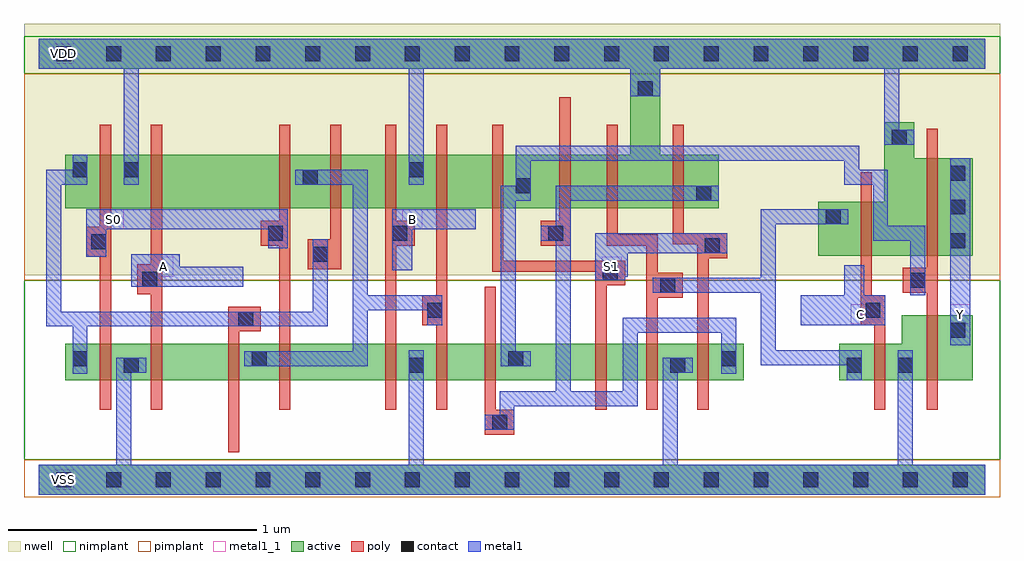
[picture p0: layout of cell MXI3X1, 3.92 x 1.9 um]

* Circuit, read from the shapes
.subckt MXI3X1 A B C S0 S1 VDD VSS Y
M1 VSS S0 n1 VSS nfet w=0.145u l=0.045u
M2 n2 A VSS VSS nfet w=0.145u l=0.045u
M3 n3 n1 n2 VSS nfet w=0.145u l=0.045u
M4 n4 S0 n3 VSS nfet w=0.145u l=0.045u
M5 VSS B n4 VSS nfet w=0.145u l=0.045u
M6 n5 n3 VSS VSS nfet w=0.145u l=0.045u
M7 n6 n7 n5 VSS nfet w=0.145u l=0.045u
M8 n8 S1 n6 VSS nfet w=0.145u l=0.045u
M9 VSS n9 n8 VSS nfet w=0.145u l=0.045u
M10 n7 S1 VSS VSS nfet w=0.145u l=0.045u
M11 VSS C n9 VSS nfet w=0.145u l=0.045u
M12 Y n6 VSS VSS nfet w=0.26u l=0.045u
M13 VDD S0 n1 VDD pfet w=0.215u l=0.045u
M14 n10 A VDD VDD pfet w=0.215u l=0.045u
M15 n3 S0 n10 VDD pfet w=0.215u l=0.045u
M16 n11 n1 n3 VDD pfet w=0.215u l=0.045u
M17 VDD B n11 VDD pfet w=0.215u l=0.045u
M18 n12 n3 VDD VDD pfet w=0.215u l=0.045u
M19 n6 S1 n12 VDD pfet w=0.215u l=0.045u
M20 n13 n7 n6 VDD pfet w=0.215u l=0.045u
M21 VDD n9 n13 VDD pfet w=0.215u l=0.045u
M22 n7 S1 VDD VDD pfet w=0.215u l=0.045u
M23 VDD C n9 VDD pfet w=0.215u l=0.045u
M24 Y n6 VDD VDD pfet w=0.39u l=0.045u
.ends

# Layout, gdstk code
import gdstk
lib = gdstk.Library(unit=1e-6, precision=5e-10)
def R(c, l, rs):  # rectangles x0, y0, x1, y1
    for r in rs: c.add(gdstk.rectangle(r[:2], r[2:], *l))
def A(c, l, x, y, w, h, nx, ny, dx, dy):  # array of equal rectangles
    R(c, l, [(x+i*dx, y+j*dy, x+i*dx+w, y+j*dy+h) for i in range(nx) for j in range(ny)])
def P(c, l, *ps):  # polygons
    for p in ps: c.add(gdstk.Polygon(p, *l))
active = (1, 0)
nwell = (2, 0)
poly = (3, 0)
nimplant = (4, 0)
pimplant = (5, 0)
contact = (6, 0)
metal1 = (7, 0)
metal1_1 = (7, 1)

mxi3x1 = lib.new_cell('MXI3X1')
R(mxi3x1, active, [(0,-0.06,3.8,0.06), (0.105,0.4,2.83,0.545)])
P(mxi3x1, active, [(0,1.77),(3.8,1.77),(3.8,1.65),(2.495,1.65),(2.495,1.305),(2.73,1.305),(2.73,1.09),(0.105,1.09),(0.105,1.305),(2.375,1.305),(2.375,1.65),(0,1.65)],
  [(3.395,1.435),(3.515,1.435),(3.515,1.29),(3.75,1.29),(3.75,0.9),(3.13,0.9),(3.13,1.115),(3.395,1.115)],
  [(3.465,0.66),(3.75,0.66),(3.75,0.4),(3.215,0.4),(3.215,0.545),(3.465,0.545)])
R(mxi3x1, nwell, [(-0.06,0.82,3.86,1.83)])
P(mxi3x1, poly, [(0.245,1.425),(0.29,1.425),(0.29,0.28),(0.245,0.28),(0.245,0.895),(0.19,0.895),(0.19,1.015),(0.245,1.015)],
  [(0.45,1.425),(0.495,1.425),(0.495,0.28),(0.45,0.28),(0.45,0.745),(0.395,0.745),(0.395,0.865),(0.45,0.865)],
  [(0.965,1.425),(1.01,1.425),(1.01,0.28),(0.965,0.28),(0.965,0.94),(0.89,0.94),(0.89,1.04),(0.965,1.04)],
  [(1.17,1.425),(1.215,1.425),(1.215,0.845),(1.08,0.845),(1.08,0.965),(1.17,0.965)],
  [(1.39,1.425),(1.435,1.425),(1.435,1.04),(1.51,1.04),(1.51,0.94),(1.435,0.94),(1.435,0.28),(1.39,0.28)],
  [(1.595,1.425),(1.64,1.425),(1.64,0.28),(1.595,0.28),(1.595,0.62),(1.54,0.62),(1.54,0.74),(1.595,0.74)],
  [(1.82,1.425),(1.865,1.425),(1.865,0.88),(2.355,0.88),(2.355,0.78),(2.28,0.78),(2.28,0.28),(2.235,0.28),(2.235,0.835),(1.82,0.835)],
  [(2.09,1.535),(2.135,1.535),(2.135,0.94),(2.015,0.94),(2.015,1.04),(2.09,1.04)],
  [(2.28,1.425),(2.325,1.425),(2.325,0.985),(2.485,0.985),(2.485,0.83),(2.585,0.83),(2.585,0.73),(2.485,0.73),(2.485,0.28),(2.44,0.28),(2.44,0.94),(2.28,0.94)],
  [(2.545,1.425),(2.59,1.425),(2.59,0.99),(2.765,0.99),(2.765,0.89),(2.69,0.89),(2.69,0.28),(2.645,0.28),(2.645,0.945),(2.545,0.945)],
  [(3.565,1.41),(3.61,1.41),(3.61,0.28),(3.565,0.28),(3.565,0.75),(3.47,0.75),(3.47,0.85),(3.565,0.85)],
  [(3.3,1.235),(3.345,1.235),(3.345,0.74),(3.4,0.74),(3.4,0.28),(3.355,0.28),(3.355,0.62),(3.3,0.62)],
  [(0.76,0.695),(0.89,0.695),(0.89,0.595),(0.805,0.595),(0.805,0.11),(0.76,0.11)],
  [(1.79,0.775),(1.835,0.775),(1.835,0.28),(1.91,0.28),(1.91,0.18),(1.79,0.18)])
R(mxi3x1, nimplant, [(-0.06,0.08,3.86,0.8), (-0.06,1.63,3.86,1.78)])
R(mxi3x1, pimplant, [(-0.06,-0.07,3.86,0.08), (-0.06,0.8,3.86,1.63)])
A(mxi3x1, contact, 0.07, -0.03, 0.06, 0.06, 19, 2, 0.2, 1.71)
A(mxi3x1, contact, 3.66, 0.93, 0.06, 0.06, 1, 3, 0, 0.135)
R(mxi3x1, contact, [(1.82,0.2,1.88,0.26), (0.34,0.43,0.4,0.49), (1.485,0.43,1.545,0.49), (2.535,0.43,2.595,0.49), (3.245,0.43,3.305,0.49), (3.45,0.43,3.51,0.49), (0.135,0.455,0.195,0.515), (0.855,0.455,0.915,0.515), (1.885,0.455,1.945,0.515), (2.74,0.455,2.8,0.515), (3.66,0.57,3.72,0.63), (0.8,0.615,0.86,0.675), (1.56,0.65,1.62,0.71), (3.32,0.65,3.38,0.71), (2.495,0.75,2.555,0.81), (3.5,0.77,3.56,0.83), (0.415,0.775,0.475,0.835), (2.265,0.8,2.325,0.86), (1.1,0.875,1.16,0.935), (2.675,0.91,2.735,0.97), (0.21,0.925,0.27,0.985), (0.92,0.96,0.98,1.02), (1.42,0.96,1.48,1.02), (2.045,0.96,2.105,1.02), (3.16,1.025,3.22,1.085), (2.64,1.12,2.7,1.18), (1.915,1.15,1.975,1.21), (1.06,1.185,1.12,1.245), (0.135,1.215,0.195,1.275), (0.34,1.215,0.4,1.275), (1.485,1.215,1.545,1.275), (3.425,1.345,3.485,1.405), (2.405,1.54,2.465,1.6)])
R(mxi3x1, metal1, [(3.66,0.54,3.74,1.29)])
P(mxi3x1, metal1, [(0,1.77),(3.8,1.77),(3.8,1.65),(3.455,1.65),(3.455,1.405),(3.515,1.405),(3.515,1.345),(3.395,1.345),(3.395,1.65),(2.495,1.65),(2.495,1.54),(2.375,1.54),(2.375,1.65),(1.545,1.65),(1.545,1.185),(1.485,1.185),(1.485,1.65),(0.4,1.65),(0.4,1.185),(0.34,1.185),(0.34,1.65),(0,1.65)],
  [(0.135,1.305),(0.195,1.305),(0.195,1.185),(0.09,1.185),(0.09,0.675),(1.1,0.675),(1.1,0.965),(1.16,0.965),(1.16,0.615),(0.195,0.615),(0.195,0.425),(0.135,0.425),(0.135,0.615),(0.03,0.615),(0.03,1.245),(0.135,1.245)],
  [(1.03,1.245),(1.32,1.245),(1.32,0.74),(1.62,0.74),(1.62,0.62),(1.56,0.62),(1.56,0.68),(1.32,0.68),(1.32,0.455),(0.825,0.455),(0.825,0.515),(1.26,0.515),(1.26,1.185),(1.03,1.185)],
  [(1.915,1.34),(3.295,1.34),(3.295,1.245),(3.41,1.245),(3.41,1.02),(3.56,1.02),(3.56,0.74),(3.5,0.74),(3.5,0.96),(3.35,0.96),(3.35,1.185),(3.235,1.185),(3.235,1.28),(1.975,1.28),(1.975,1.12),(1.915,1.12),(1.915,0.515),(1.975,0.515),(1.975,0.455),(1.855,0.455),(1.855,1.18),(1.915,1.18)],
  [(0.19,1.085),(1,1.085),(1,0.93),(0.92,0.93),(0.92,1.005),(0.27,1.005),(0.27,0.895),(0.19,0.895)],
  [(0.37,0.905),(0.565,0.905),(0.565,0.855),(0.82,0.855),(0.82,0.775),(0.37,0.775)],
  [(2.075,1.18),(2.73,1.18),(2.73,1.12),(2.135,1.12),(2.135,0.355),(2.345,0.355),(2.345,0.65),(2.8,0.65),(2.8,0.425),(2.74,0.425),(2.74,0.59),(2.405,0.59),(2.405,0.295),(1.91,0.295),(1.91,0.2),(1.79,0.2),(1.79,0.26),(1.85,0.26),(1.85,0.355),(2.075,0.355),(2.075,0.96),(2.015,0.96),(2.015,1.02),(2.075,1.02)],
  [(1.42,1.085),(1.755,1.085),(1.755,1.005),(1.5,1.005),(1.5,0.84),(1.42,0.84)],
  [(0.31,0.49),(0.43,0.49),(0.43,0.43),(0.37,0.43),(0.37,0.06),(1.485,0.06),(1.485,0.52),(1.545,0.52),(1.545,0.06),(2.505,0.06),(2.505,0.49),(2.625,0.49),(2.625,0.43),(2.565,0.43),(2.565,0.06),(3.45,0.06),(3.45,0.52),(3.51,0.52),(3.51,0.06),(3.8,0.06),(3.8,-0.06),(0,-0.06),(0,0.06),(0.31,0.06)],
  [(2.235,0.99),(2.765,0.99),(2.765,0.91),(2.365,0.91),(2.365,0.815),(2.355,0.815),(2.355,0.8),(2.235,0.8)],
  [(2.9,1.085),(3.25,1.085),(3.25,1.025),(2.96,1.025),(2.96,0.52),(3.305,0.52),(3.305,0.4),(3.245,0.4),(3.245,0.46),(2.9,0.46),(2.9,0.75),(2.465,0.75),(2.465,0.81),(2.9,0.81)],
  [(3.235,0.86),(3.315,0.86),(3.315,0.74),(3.4,0.74),(3.4,0.62),(3.06,0.62),(3.06,0.74),(3.235,0.74)])
R(mxi3x1, metal1_1, [(0.06,-0.04,0.14,0.04), (3.26,0.625,3.34,0.705), (3.66,0.625,3.74,0.705), (0.46,0.815,0.54,0.895), (2.26,0.815,2.34,0.895), (0.26,1.005,0.34,1.085), (1.46,1.005,1.54,1.085), (0.06,1.67,0.14,1.75)])
mxi3x1.add(gdstk.Label('Y', (3.7,0.665), layer=7, texttype=1))
mxi3x1.add(gdstk.Label('C', (3.3,0.665), layer=7, texttype=1))
mxi3x1.add(gdstk.Label('S1', (2.3,0.855), layer=7, texttype=1))
mxi3x1.add(gdstk.Label('B', (1.5,1.045), layer=7, texttype=1))
mxi3x1.add(gdstk.Label('A', (0.5,0.855), layer=7, texttype=1))
mxi3x1.add(gdstk.Label('S0', (0.3,1.045), layer=7, texttype=1))
mxi3x1.add(gdstk.Label('VDD', (0.1,1.71), layer=7, texttype=1))
mxi3x1.add(gdstk.Label('VSS', (0.1,0), layer=7, texttype=1))
mxi3x1.add(gdstk.Label('MXI3X1', (0,0), layer=63, texttype=0))

lib.write_gds('MXI3X1.gds')
